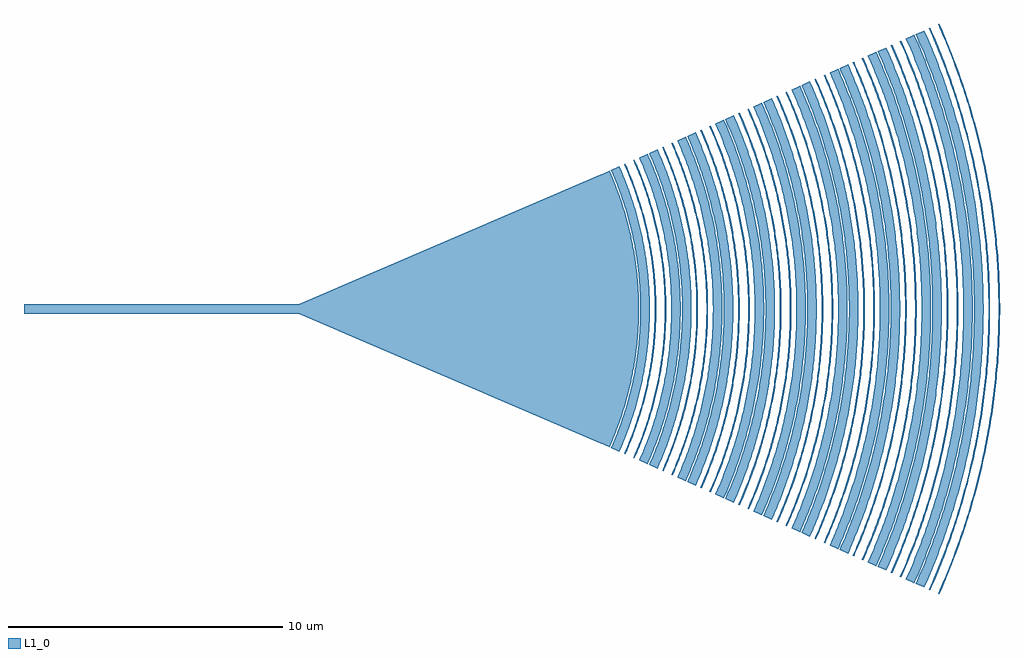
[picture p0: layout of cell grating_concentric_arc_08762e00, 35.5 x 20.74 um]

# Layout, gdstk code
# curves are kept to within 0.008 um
import gdstk
lib = gdstk.Library(unit=1e-6, precision=2e-09)
def R(c, l, rs):  # rectangles x0, y0, x1, y1
    for r in rs: c.add(gdstk.rectangle(r[:2], r[2:], *l))
def P(c, l, *ps):  # polygons
    for p in ps: c.add(gdstk.Polygon(p, *l))
L1_0 = (1, 0)

straight_3aa2beef = lib.new_cell('straight_3aa2beef')
R(straight_3aa2beef, L1_0, [(0,-0.174,10,0.174)])

ring_5980e904_transform_ = lib.new_cell('ring_5980e904_transform_c6f3182c')
P(ring_5980e904_transform_, L1_0, [(10.05,-4.474),(10.27,-3.942),(10.462,-3.4),(10.626,-2.848),(10.76,-2.288),(10.844,-1.848),(10.926,-1.278),(10.974,-0.768),(11,-0.128),(10.982,0.64),(10.94,1.15),(10.844,1.848),(10.76,2.288),(10.626,2.848),(10.462,3.4),(10.27,3.942),(10.05,4.474),(11.298,5.03),(11.52,4.498),(11.646,4.162),(11.868,3.478),(12.082,2.642),(12.226,1.864),(12.292,1.364),(12.332,0.934),(12.366,0.144),(12.364,-0.288),(12.342,-0.79),(12.266,-1.578),(12.112,-2.5),(11.908,-3.34),(11.646,-4.162),(11.52,-4.498),(11.298,-5.03)])

ring_31c3b712_transform_ = lib.new_cell('ring_31c3b712_transform_579983bc')
P(ring_31c3b712_transform_, L1_0, [(11.35,-5.054),(11.572,-4.52),(11.794,-3.908),(11.982,-3.286),(12.106,-2.794),(12.248,-2.086),(12.332,-1.514),(12.394,-0.866),(12.414,-0.506),(12.422,0.216),(12.394,0.866),(12.332,1.514),(12.196,2.37),(12.072,2.936),(11.86,3.702),(11.65,4.316),(11.35,5.054),(11.658,5.19),(11.914,4.574),(12.16,3.872),(12.346,3.232),(12.528,2.436),(12.658,1.628),(12.726,0.964),(12.76,0.222),(12.754,-0.446),(12.7,-1.26),(12.592,-2.07),(12.528,-2.436),(12.418,-2.944),(12.226,-3.66),(12.018,-4.294),(11.86,-4.712),(11.658,-5.19)])

ring_8cd21f16_transform_ = lib.new_cell('ring_8cd21f16_transform_288ec5f4')
P(ring_8cd21f16_transform_, L1_0, [(11.826,-5.266),(12.086,-4.64),(12.312,-4),(12.524,-3.278),(12.678,-2.618),(12.798,-1.95),(12.89,-1.204),(12.932,-0.602),(12.946,-0.076),(12.932,0.602),(12.89,1.204),(12.82,1.802),(12.708,2.47),(12.596,2.986),(12.524,3.278),(12.402,3.712),(12.216,4.286),(12.086,4.64),(11.826,5.266),(11.874,5.286),(12.136,4.658),(12.266,4.304),(12.386,3.944),(12.516,3.51),(12.594,3.218),(12.746,2.554),(12.862,1.884),(12.936,1.284),(12.988,0.53),(12.998,-0.152),(12.972,-0.832),(12.92,-1.434),(12.862,-1.884),(12.802,-2.258),(12.666,-2.924),(12.474,-3.656),(12.266,-4.304),(12.136,-4.658),(11.906,-5.218),(11.874,-5.286)])

ring_874df38f_transform_ = lib.new_cell('ring_874df38f_transform_116213ad')
P(ring_874df38f_transform_, L1_0, [(12.158,-5.414),(12.426,-4.77),(12.682,-4.04),(12.876,-3.37),(13.018,-2.768),(13.146,-2.082),(13.22,-1.546),(13.282,-0.852),(13.302,-0.464),(13.31,0),(13.302,0.464),(13.252,1.238),(13.22,1.546),(13.158,2.006),(13.05,2.616),(12.914,3.22),(12.728,3.892),(12.61,4.26),(12.426,4.77),(12.158,5.414),(12.206,5.434),(12.39,5.006),(12.53,4.644),(12.756,3.982),(12.966,3.232),(13.102,2.626),(13.222,1.936),(13.312,1.164),(13.352,0.544),(13.362,-0.156),(13.352,-0.544),(13.33,-0.932),(13.272,-1.552),(13.222,-1.936),(13.16,-2.32),(13.02,-3.006),(12.866,-3.608),(12.756,-3.982),(12.53,-4.644),(12.39,-5.006),(12.206,-5.434)])

ring_c10c4332_transform_ = lib.new_cell('ring_c10c4332_transform_c0080ed3')
P(ring_c10c4332_transform_, L1_0, [(12.374,-5.51),(12.618,-4.928),(12.884,-4.186),(13.064,-3.582),(13.234,-2.894),(13.354,-2.274),(13.436,-1.73),(13.502,-1.102),(13.538,-0.472),(13.546,0.158),(13.502,1.102),(13.404,1.964),(13.298,2.584),(13.144,3.278),(12.908,4.11),(12.618,4.928),(12.374,5.51),(12.684,5.648),(12.962,4.976),(13.23,4.214),(13.432,3.516),(13.614,2.728),(13.738,2.012),(13.832,1.21),(13.876,0.484),(13.876,-0.484),(13.832,-1.21),(13.714,-2.172),(13.614,-2.728),(13.51,-3.202),(13.278,-4.06),(13.102,-4.596),(12.962,-4.976),(12.684,-5.648)])

ring_1c1a7db8_transform_ = lib.new_cell('ring_1c1a7db8_transform_9bde171e')
P(ring_1c1a7db8_transform_, L1_0, [(12.736,-5.67),(13.016,-4.996),(13.234,-4.386),(13.402,-3.842),(13.566,-3.216),(13.716,-2.5),(13.828,-1.78),(13.902,-1.054),(13.936,-0.406),(13.938,0.324),(13.902,1.054),(13.806,1.94),(13.67,2.74),(13.508,3.452),(13.284,4.23),(13.016,4.996),(12.736,5.67),(13.044,5.808),(13.24,5.35),(13.39,4.962),(13.606,4.334),(13.814,3.616),(13.984,2.888),(14.104,2.234),(14.218,1.328),(14.274,0.416),(14.274,-0.416),(14.218,-1.328),(14.104,-2.234),(13.914,-3.212),(13.68,-4.096),(13.39,-4.962),(13.24,-5.35),(13.044,-5.808)])

ring_828d36b0_transform_ = lib.new_cell('ring_828d36b0_transform_22de5002')
P(ring_828d36b0_transform_, L1_0, [(13.212,-5.882),(13.442,-5.34),(13.62,-4.868),(13.756,-4.47),(13.97,-3.744),(14.13,-3.09),(14.272,-2.346),(14.366,-1.68),(14.434,-0.924),(14.462,-0.168),(14.46,0.336),(14.448,0.672),(14.408,1.26),(14.334,1.93),(14.272,2.346),(14.198,2.76),(14.074,3.336),(13.88,4.068),(13.756,4.47),(13.562,5.026),(13.442,5.34),(13.212,5.882),(13.262,5.904),(13.428,5.516),(13.582,5.124),(13.832,4.406),(14.044,3.676),(14.216,2.936),(14.338,2.27),(14.398,1.852),(14.446,1.434),(14.492,0.844),(14.508,0.506),(14.516,-0.168),(14.492,-0.844),(14.428,-1.602),(14.338,-2.27),(14.266,-2.686),(14.182,-3.1),(14,-3.838),(13.882,-4.244),(13.726,-4.726),(13.46,-5.438),(13.262,-5.904)])

ring_3885c2f9_transform_ = lib.new_cell('ring_3885c2f9_transform_93539ac7')
P(ring_3885c2f9_transform_, L1_0, [(13.544,-6.03),(13.78,-5.474),(13.962,-4.99),(14.074,-4.664),(14.276,-4.004),(14.366,-3.67),(14.466,-3.252),(14.602,-2.574),(14.658,-2.234),(14.726,-1.722),(14.778,-1.206),(14.802,-0.862),(14.826,-0.172),(14.818,0.518),(14.802,0.862),(14.746,1.55),(14.658,2.234),(14.538,2.914),(14.366,3.67),(14.204,4.252),(14.074,4.664),(13.842,5.314),(13.682,5.714),(13.544,6.03),(13.594,6.052),(13.892,5.332),(14.152,4.598),(14.304,4.102),(14.438,3.6),(14.59,2.924),(14.71,2.242),(14.78,1.728),(14.816,1.384),(14.868,0.606),(14.88,-0.086),(14.868,-0.606),(14.85,-0.952),(14.78,-1.728),(14.71,-2.242),(14.654,-2.584),(14.518,-3.262),(14.438,-3.6),(14.304,-4.102),(14.07,-4.844),(13.86,-5.414),(13.594,-6.052)])

ring_8b9f594e_transform_ = lib.new_cell('ring_8b9f594e_transform_fba0364b')
P(ring_8b9f594e_transform_, L1_0, [(13.762,-6.126),(14,-5.562),(14.272,-4.822),(14.528,-3.984),(14.678,-3.388),(14.82,-2.702),(14.952,-1.836),(15.014,-1.226),(15.058,-0.438),(15.058,0.438),(15.014,1.226),(14.952,1.836),(14.804,2.788),(14.638,3.56),(14.528,3.984),(14.354,4.572),(14.064,5.398),(13.762,6.126),(14.07,6.264),(14.378,5.52),(14.676,4.674),(14.9,3.9),(15.102,3.026),(15.252,2.144),(15.318,1.61),(15.358,1.164),(15.398,0.358),(15.398,-0.358),(15.358,-1.164),(15.298,-1.788),(15.226,-2.32),(15.084,-3.114),(14.966,-3.638),(14.83,-4.16),(14.676,-4.674),(14.504,-5.184),(14.314,-5.686),(14.07,-6.264)])

ring_6a857adc_transform_ = lib.new_cell('ring_6a857adc_transform_85e51b25')
P(ring_6a857adc_transform_, L1_0, [(14.122,-6.288),(14.4,-5.624),(14.646,-4.948),(14.86,-4.26),(15.042,-3.566),(15.192,-2.862),(15.308,-2.152),(15.408,-1.258),(15.45,-0.54),(15.45,0.54),(15.408,1.258),(15.296,2.24),(15.158,3.038),(14.978,3.826),(14.73,4.692),(14.496,5.372),(14.3,5.874),(14.122,6.288),(14.43,6.426),(14.78,5.576),(15.08,4.706),(15.328,3.822),(15.524,2.924),(15.656,2.108),(15.752,1.194),(15.79,0.46),(15.79,-0.46),(15.77,-0.918),(15.72,-1.56),(15.656,-2.108),(15.588,-2.562),(15.392,-3.554),(15.16,-4.442),(15.024,-4.882),(14.812,-5.49),(14.612,-6.002),(14.43,-6.426)])

ring_92e91ee7_transform_ = lib.new_cell('ring_92e91ee7_transform_32ab5ad6')
P(ring_92e91ee7_transform_, L1_0, [(14.598,-6.5),(14.886,-5.814),(15.17,-5.026),(15.31,-4.584),(15.412,-4.226),(15.612,-3.414),(15.754,-2.684),(15.862,-1.948),(15.912,-1.486),(15.942,-1.114),(15.968,-0.65),(15.98,-0.186),(15.98,0.186),(15.968,0.65),(15.912,1.486),(15.862,1.948),(15.812,2.316),(15.722,2.866),(15.65,3.232),(15.506,3.866),(15.31,4.584),(15.17,5.026),(14.952,5.64),(14.782,6.072),(14.598,6.5),(14.648,6.522),(14.796,6.178),(15.002,5.658),(15.13,5.308),(15.278,4.866),(15.512,4.06),(15.684,3.334),(15.822,2.6),(15.878,2.232),(15.956,1.584),(16.012,0.84),(16.03,0.374),(16.034,-0.094),(16.012,-0.84),(15.988,-1.212),(15.926,-1.862),(15.822,-2.6),(15.774,-2.876),(15.644,-3.516),(15.512,-4.06),(15.438,-4.33),(15.278,-4.866),(15.13,-5.308),(14.866,-6.006),(14.648,-6.522)])

ring_b28e7591_transform_ = lib.new_cell('ring_b28e7591_transform_f28692c8')
P(ring_b28e7591_transform_, L1_0, [(14.932,-6.648),(15.19,-6.034),(15.454,-5.322),(15.658,-4.688),(15.788,-4.23),(15.926,-3.676),(16.08,-2.932),(16.158,-2.462),(16.234,-1.898),(16.298,-1.234),(16.322,-0.856),(16.344,-0.19),(16.338,0.476),(16.322,0.856),(16.274,1.52),(16.186,2.274),(16.08,2.932),(16.026,3.212),(15.882,3.862),(15.788,4.23),(15.658,4.688),(15.454,5.322),(15.326,5.68),(15.19,6.034),(14.932,6.648),(14.98,6.67),(15.168,6.23),(15.342,5.788),(15.504,5.338),(15.624,4.976),(15.736,4.612),(15.886,4.06),(15.956,3.782),(16.078,3.222),(16.196,2.566),(16.264,2.092),(16.318,1.62),(16.358,1.144),(16.38,0.762),(16.398,0),(16.388,-0.572),(16.37,-0.954),(16.298,-1.808),(16.196,-2.566),(16.114,-3.036),(15.998,-3.596),(15.886,-4.06),(15.736,-4.612),(15.504,-5.338),(15.274,-5.966),(14.98,-6.67)])

ring_3f1a5748_transform_ = lib.new_cell('ring_3f1a5748_transform_90aa7776')
P(ring_3f1a5748_transform_, L1_0, [(15.148,-6.744),(15.48,-5.942),(15.74,-5.216),(15.966,-4.478),(16.178,-3.636),(16.33,-2.88),(16.446,-2.116),(16.534,-1.252),(16.574,-0.482),(16.582,0),(16.568,0.676),(16.51,1.542),(16.406,2.404),(16.258,3.258),(16.178,3.636),(16.016,4.292),(15.8,5.032),(15.48,5.942),(15.148,6.744),(15.456,6.882),(15.796,6.064),(16.122,5.134),(16.368,4.284),(16.59,3.324),(16.726,2.55),(16.846,1.572),(16.896,0.886),(16.912,0.492),(16.912,-0.492),(16.896,-0.886),(16.846,-1.572),(16.768,-2.258),(16.696,-2.744),(16.508,-3.71),(16.264,-4.664),(16.122,-5.134),(15.932,-5.694),(15.688,-6.338),(15.456,-6.882)])

ring_ff41c443_transform_ = lib.new_cell('ring_ff41c443_transform_259f8c97')
P(ring_ff41c443_transform_, L1_0, [(15.508,-6.904),(15.74,-6.36),(16.084,-5.434),(16.346,-4.584),(16.542,-3.818),(16.736,-2.85),(16.838,-2.166),(16.928,-1.282),(16.972,-0.396),(16.966,0.592),(16.912,1.48),(16.862,1.97),(16.768,2.656),(16.646,3.336),(16.448,4.202),(16.206,5.058),(15.884,5.992),(15.508,6.904),(15.818,7.042),(16.016,6.58),(16.236,6.016),(16.498,5.254),(16.776,4.286),(16.996,3.304),(17.132,2.51),(17.24,1.61),(17.304,0.604),(17.31,-0.402),(17.296,-0.806),(17.24,-1.61),(17.132,-2.51),(17.052,-3.006),(16.936,-3.6),(16.698,-4.578),(16.498,-5.254),(16.304,-5.828),(16.054,-6.486),(15.818,-7.042)])

ring_9ce07b13_transform_ = lib.new_cell('ring_9ce07b13_transform_75342d38')
P(ring_9ce07b13_transform_, L1_0, [(15.986,-7.118),(16.186,-6.65),(16.336,-6.27),(16.478,-5.888),(16.642,-5.408),(16.876,-4.628),(16.978,-4.234),(17.116,-3.638),(17.25,-2.938),(17.314,-2.536),(17.392,-1.93),(17.432,-1.526),(17.474,-0.916),(17.498,-0.102),(17.494,0.408),(17.474,0.916),(17.432,1.526),(17.392,1.93),(17.314,2.536),(17.25,2.938),(17.116,3.638),(16.954,4.332),(16.876,4.628),(16.704,5.214),(16.512,5.792),(16.372,6.176),(16.186,6.65),(15.986,7.118),(16.034,7.138),(16.196,6.764),(16.386,6.29),(16.562,5.81),(16.724,5.326),(16.872,4.838),(16.98,4.444),(17.168,3.65),(17.302,2.948),(17.366,2.544),(17.466,1.734),(17.522,1.02),(17.544,0.51),(17.552,0),(17.544,-0.51),(17.522,-1.02),(17.466,-1.734),(17.366,-2.544),(17.302,-2.948),(17.168,-3.65),(17.03,-4.246),(16.926,-4.642),(16.814,-5.034),(16.628,-5.618),(16.386,-6.29),(16.116,-6.952),(16.034,-7.138)])

ring_57aed3ef_transform_ = lib.new_cell('ring_57aed3ef_transform_21964beb')
P(ring_57aed3ef_transform_, L1_0, [(16.318,-7.264),(16.522,-6.788),(16.676,-6.402),(16.82,-6.012),(16.988,-5.52),(17.226,-4.724),(17.332,-4.322),(17.472,-3.714),(17.626,-2.896),(17.716,-2.28),(17.764,-1.868),(17.838,-0.934),(17.862,-0.104),(17.854,0.52),(17.838,0.934),(17.764,1.868),(17.674,2.588),(17.608,3),(17.514,3.51),(17.332,4.322),(17.226,4.724),(17.082,5.222),(16.888,5.816),(16.676,6.402),(16.522,6.788),(16.318,7.264),(16.366,7.286),(16.532,6.904),(16.688,6.518),(16.87,6.03),(17.038,5.536),(17.278,4.738),(17.408,4.232),(17.524,3.724),(17.678,2.906),(17.782,2.184),(17.828,1.768),(17.872,1.25),(17.896,0.834),(17.914,0.208),(17.914,-0.208),(17.896,-0.834),(17.872,-1.25),(17.838,-1.666),(17.782,-2.184),(17.678,-2.906),(17.606,-3.316),(17.456,-4.03),(17.358,-4.436),(17.192,-5.038),(17.038,-5.536),(16.87,-6.03),(16.688,-6.518),(16.532,-6.904),(16.366,-7.286)])

ring_51216bf5_transform_ = lib.new_cell('ring_51216bf5_transform_d21687a5')
P(ring_51216bf5_transform_, L1_0, [(16.534,-7.362),(16.934,-6.388),(17.18,-5.692),(17.426,-4.888),(17.658,-3.968),(17.842,-3.04),(17.964,-2.206),(18.062,-1.158),(18.094,-0.422),(18.088,0.632),(18.03,1.578),(17.908,2.624),(17.746,3.556),(17.536,4.48),(17.308,5.292),(17.078,5.992),(16.934,6.388),(16.534,7.362),(16.842,7.498),(17.174,6.708),(17.362,6.204),(17.568,5.596),(17.836,4.668),(18.078,3.624),(18.258,2.566),(18.376,1.5),(18.426,0.644),(18.432,-0.428),(18.376,-1.5),(18.258,-2.566),(18.078,-3.624),(17.94,-4.252),(17.78,-4.876),(17.568,-5.596),(17.362,-6.204),(17.174,-6.708),(16.842,-7.498)])

ring_f3ee0912_transform_ = lib.new_cell('ring_f3ee0912_transform_e541d9a4')
P(ring_f3ee0912_transform_, L1_0, [(16.894,-7.522),(17.266,-6.628),(17.554,-5.818),(17.836,-4.89),(18.044,-4.056),(18.232,-3.106),(18.356,-2.254),(18.424,-1.612),(18.486,-0.538),(18.486,0.538),(18.424,1.612),(18.314,2.574),(18.232,3.106),(18.134,3.634),(17.892,4.682),(17.622,5.612),(17.266,6.628),(16.894,7.522),(17.204,7.66),(17.378,7.258),(17.62,6.646),(17.944,5.714),(18.246,4.662),(18.374,4.13),(18.486,3.594),(18.664,2.512),(18.77,1.532),(18.824,0.548),(18.824,-0.548),(18.794,-1.204),(18.74,-1.86),(18.678,-2.404),(18.6,-2.946),(18.486,-3.594),(18.374,-4.13),(18.162,-4.98),(17.944,-5.714),(17.734,-6.338),(17.502,-6.952),(17.204,-7.66)])

ring_0a456188_transform_ = lib.new_cell('ring_0a456188_transform_9ed6a0ba')
P(ring_0a456188_transform_, L1_0, [(17.372,-7.734),(17.59,-7.226),(17.792,-6.712),(18.05,-5.982),(18.248,-5.348),(18.368,-4.922),(18.478,-4.492),(18.6,-3.954),(18.708,-3.41),(18.782,-2.974),(18.846,-2.536),(18.912,-1.988),(18.984,-1.106),(19.008,-0.554),(19.016,-0.11),(19,0.774),(18.97,1.326),(18.934,1.768),(18.874,2.318),(18.782,2.974),(18.708,3.41),(18.622,3.846),(18.424,4.708),(18.248,5.348),(18.152,5.666),(17.944,6.296),(17.792,6.712),(17.59,7.226),(17.372,7.734),(17.42,7.756),(17.68,7.144),(17.842,6.73),(18.136,5.892),(18.268,5.468),(18.448,4.828),(18.652,3.964),(18.76,3.42),(18.868,2.764),(18.976,1.882),(19.006,1.552),(19.048,0.888),(19.064,0.444),(19.068,-0.222),(19.048,-0.888),(19.03,-1.22),(19.006,-1.552),(18.94,-2.214),(18.868,-2.764),(18.798,-3.202),(18.74,-3.53),(18.58,-4.29),(18.448,-4.828),(18.33,-5.256),(18.17,-5.786),(17.994,-6.312),(17.722,-7.04),(17.51,-7.552),(17.42,-7.756)])

ring_1e318d4c_transform_ = lib.new_cell('ring_1e318d4c_transform_3c680a2d')
P(ring_1e318d4c_transform_, L1_0, [(17.704,-7.882),(18.052,-7.05),(18.324,-6.31),(18.466,-5.882),(18.598,-5.45),(18.748,-4.906),(18.956,-4.03),(19.024,-3.698),(19.158,-2.92),(19.248,-2.25),(19.296,-1.802),(19.34,-1.24),(19.364,-0.788),(19.38,0),(19.364,0.788),(19.34,1.24),(19.296,1.802),(19.248,2.25),(19.158,2.92),(19.002,3.808),(18.908,4.25),(18.776,4.798),(18.66,5.234),(18.5,5.774),(18.324,6.31),(18.132,6.84),(17.926,7.364),(17.704,7.882),(17.752,7.904),(17.932,7.488),(18.142,6.964),(18.336,6.434),(18.482,6.004),(18.68,5.356),(18.8,4.92),(19.008,4.04),(19.118,3.486),(19.228,2.816),(19.338,1.918),(19.368,1.58),(19.412,0.904),(19.43,0.34),(19.432,-0.114),(19.424,-0.566),(19.4,-1.13),(19.368,-1.58),(19.314,-2.144),(19.244,-2.704),(19.156,-3.262),(19.076,-3.708),(18.96,-4.262),(18.8,-4.92),(18.68,-5.356),(18.516,-5.898),(18.374,-6.326),(18.142,-6.964),(17.888,-7.592),(17.752,-7.904)])

ring_53eda29f_transform_ = lib.new_cell('ring_53eda29f_transform_7ae99674')
P(ring_53eda29f_transform_, L1_0, [(17.92,-7.978),(18.314,-7.03),(18.656,-6.062),(18.948,-5.078),(19.164,-4.19),(19.338,-3.294),(19.484,-2.278),(19.576,-1.254),(19.614,-0.342),(19.614,0.342),(19.6,0.798),(19.532,1.824),(19.426,2.73),(19.338,3.294),(19.234,3.854),(19.006,4.856),(18.726,5.844),(18.548,6.386),(18.314,7.03),(17.92,7.978),(18.228,8.116),(18.458,7.582),(18.67,7.042),(18.978,6.166),(19.182,5.5),(19.362,4.828),(19.588,3.808),(19.69,3.236),(19.776,2.662),(19.888,1.624),(19.946,0.58),(19.946,-0.58),(19.914,-1.276),(19.878,-1.74),(19.82,-2.316),(19.744,-2.892),(19.542,-4.036),(19.39,-4.714),(19.244,-5.276),(19.048,-5.944),(18.79,-6.716),(18.502,-7.474),(18.228,-8.116)])

ring_22dcee67_transform_ = lib.new_cell('ring_22dcee67_transform_6674ada7')
P(ring_22dcee67_transform_, L1_0, [(18.282,-8.14),(18.682,-7.172),(18.996,-6.294),(19.33,-5.18),(19.55,-4.274),(19.708,-3.474),(19.8,-2.9),(19.876,-2.324),(19.954,-1.512),(20.006,-0.466),(20.006,0.466),(19.954,1.512),(19.876,2.324),(19.746,3.246),(19.55,4.274),(19.36,5.066),(19.204,5.628),(18.996,6.294),(18.764,6.954),(18.598,7.388),(18.282,8.14),(18.59,8.276),(18.778,7.842),(19.04,7.182),(19.39,6.176),(19.594,5.496),(19.716,5.038),(19.828,4.578),(19.976,3.882),(20.152,2.832),(20.238,2.128),(20.282,1.656),(20.322,1.064),(20.344,0.474),(20.344,-0.474),(20.322,-1.064),(20.282,-1.656),(20.238,-2.128),(20.152,-2.832),(19.976,-3.882),(19.828,-4.578),(19.656,-5.266),(19.46,-5.95),(19.202,-6.736),(18.912,-7.514),(18.59,-8.276)])

ring_87db352c_transform_ = lib.new_cell('ring_87db352c_transform_d8670275')
P(ring_87db352c_transform_, L1_0, [(18.758,-8.352),(18.948,-7.912),(19.17,-7.358),(19.376,-6.798),(19.528,-6.346),(19.636,-6.004),(19.834,-5.314),(19.924,-4.968),(20.06,-4.386),(20.156,-3.918),(20.262,-3.33),(20.334,-2.858),(20.408,-2.266),(20.474,-1.552),(20.498,-1.194),(20.532,-0.238),(20.532,0.238),(20.516,0.836),(20.49,1.314),(20.444,1.908),(20.408,2.266),(20.334,2.858),(20.262,3.33),(20.156,3.918),(20.06,4.386),(19.924,4.968),(19.802,5.43),(19.636,6.004),(19.376,6.798),(19.254,7.134),(19.038,7.692),(18.758,8.352),(18.806,8.374),(18.95,8.044),(19.176,7.49),(19.386,6.928),(19.542,6.476),(19.722,5.904),(19.854,5.444),(20.004,4.864),(20.136,4.28),(20.208,3.928),(20.314,3.338),(20.386,2.866),(20.474,2.152),(20.528,1.556),(20.564,0.958),(20.578,0.598),(20.586,-0.12),(20.578,-0.598),(20.552,-1.196),(20.528,-1.556),(20.474,-2.152),(20.386,-2.866),(20.314,-3.338),(20.208,-3.928),(20.086,-4.514),(19.946,-5.096),(19.822,-5.56),(19.652,-6.134),(19.426,-6.816),(19.176,-7.49),(18.95,-8.044),(18.806,-8.374)])

ring_80e87c48_transform_ = lib.new_cell('ring_80e87c48_transform_c6a80cb5')
P(ring_80e87c48_transform_, L1_0, [(19.09,-8.5),(19.33,-7.94),(19.552,-7.376),(19.874,-6.458),(20.088,-5.76),(20.216,-5.29),(20.414,-4.464),(20.536,-3.868),(20.64,-3.268),(20.694,-2.908),(20.77,-2.306),(20.818,-1.822),(20.862,-1.216),(20.896,-0.244),(20.896,0.244),(20.88,0.85),(20.862,1.216),(20.818,1.822),(20.77,2.306),(20.694,2.908),(20.58,3.628),(20.49,4.106),(20.362,4.7),(20.276,5.056),(20.088,5.76),(19.984,6.11),(19.798,6.688),(19.552,7.376),(19.33,7.94),(19.09,8.5),(19.138,8.522),(19.332,8.074),(19.602,7.394),(19.848,6.706),(19.962,6.358),(20.172,5.658),(20.268,5.304),(20.492,4.356),(20.588,3.878),(20.692,3.278),(20.794,2.554),(20.848,2.068),(20.89,1.582),(20.928,0.974),(20.944,0.488),(20.95,-0.122),(20.936,-0.732),(20.914,-1.218),(20.86,-1.948),(20.822,-2.312),(20.746,-2.916),(20.632,-3.638),(20.542,-4.116),(20.44,-4.594),(20.328,-5.068),(20.172,-5.658),(20.034,-6.126),(19.848,-6.706),(19.602,-7.394),(19.332,-8.074),(19.138,-8.522)])

ring_0d970298_transform_ = lib.new_cell('ring_0d970298_transform_0dfc6711')
P(ring_0d970298_transform_, L1_0, [(19.306,-8.596),(19.73,-7.574),(20.1,-6.53),(20.382,-5.588),(20.62,-4.634),(20.834,-3.548),(20.976,-2.576),(21.074,-1.596),(21.128,-0.492),(21.128,0.492),(21.074,1.596),(20.976,2.576),(20.874,3.306),(20.746,4.032),(20.62,4.634),(20.414,5.47),(20.246,6.062),(20.1,6.53),(19.86,7.228),(19.502,8.144),(19.306,8.596),(19.616,8.734),(19.814,8.274),(20.09,7.578),(20.302,6.99),(20.534,6.278),(20.804,5.316),(20.922,4.83),(21.078,4.096),(21.188,3.482),(21.28,2.864),(21.39,1.872),(21.436,1.248),(21.458,0.75),(21.472,0.124),(21.466,-0.5),(21.436,-1.248),(21.39,-1.872),(21.312,-2.616),(21.226,-3.236),(21.124,-3.852),(21.028,-4.342),(20.864,-5.074),(20.708,-5.678),(20.496,-6.398),(20.176,-7.344),(19.908,-8.044),(19.616,-8.734)])

ring_1c7b9ba6_transform_ = lib.new_cell('ring_1c7b9ba6_transform_3d196e96')
P(ring_1c7b9ba6_transform_, L1_0, [(19.668,-8.756),(20.054,-7.832),(20.436,-6.772),(20.588,-6.294),(20.796,-5.572),(21.032,-4.598),(21.244,-3.492),(21.384,-2.5),(21.468,-1.626),(21.506,-1.002),(21.526,-0.376),(21.52,0.626),(21.468,1.626),(21.384,2.5),(21.244,3.492),(21.032,4.598),(20.89,5.208),(20.66,6.054),(20.436,6.772),(20.188,7.48),(19.914,8.18),(19.668,8.756),(19.976,8.894),(20.226,8.31),(20.46,7.718),(20.836,6.636),(21.02,6.028),(21.186,5.414),(21.44,4.298),(21.636,3.17),(21.734,2.412),(21.784,1.906),(21.854,0.764),(21.864,-0.382),(21.814,-1.526),(21.76,-2.16),(21.672,-2.918),(21.578,-3.546),(21.44,-4.298),(21.278,-5.042),(21.122,-5.66),(20.912,-6.394),(20.592,-7.36),(20.322,-8.074),(19.976,-8.894)])

ring_21bbc2b6_transform_ = lib.new_cell('ring_21bbc2b6_transform_cb1393bb')
P(ring_21bbc2b6_transform_, L1_0, [(20.144,-8.968),(20.348,-8.498),(20.54,-8.022),(20.764,-7.422),(20.932,-6.936),(21.124,-6.324),(21.3,-5.708),(21.542,-4.71),(21.646,-4.208),(21.738,-3.702),(21.818,-3.196),(21.902,-2.56),(21.978,-1.794),(22.014,-1.282),(22.042,-0.642),(22.05,-0.128),(22.042,0.642),(22.014,1.282),(21.978,1.794),(21.93,2.304),(21.854,2.942),(21.738,3.702),(21.646,4.208),(21.542,4.71),(21.396,5.334),(21.232,5.954),(21.05,6.57),(20.85,7.178),(20.632,7.782),(20.348,8.498),(20.144,8.968),(20.192,8.99),(20.446,8.4),(20.636,7.922),(20.858,7.318),(20.982,6.952),(21.248,6.092),(21.416,5.472),(21.594,4.722),(21.722,4.092),(21.832,3.458),(21.906,2.948),(21.996,2.182),(22.05,1.542),(22.086,0.9),(22.104,-0.128),(22.074,-1.156),(22.02,-1.926),(21.954,-2.566),(21.852,-3.33),(21.79,-3.712),(21.698,-4.218),(21.594,-4.722),(21.416,-5.472),(21.248,-6.092),(21.062,-6.708),(20.9,-7.196),(20.636,-7.922),(20.296,-8.754),(20.192,-8.99)])

ring_ab03ac01_transform_ = lib.new_cell('ring_ab03ac01_transform_5dc6e2a4')
P(ring_ab03ac01_transform_, L1_0, [(20.476,-9.116),(20.732,-8.518),(20.926,-8.032),(21.15,-7.42),(21.358,-6.802),(21.51,-6.304),(21.684,-5.676),(21.84,-5.042),(21.952,-4.532),(22.118,-3.636),(22.214,-2.99),(22.292,-2.342),(22.34,-1.824),(22.384,-1.174),(22.414,-0.13),(22.396,0.912),(22.36,1.564),(22.318,2.084),(22.248,2.732),(22.178,3.248),(22.074,3.892),(21.952,4.532),(21.84,5.042),(21.684,5.676),(21.51,6.304),(21.358,6.802),(21.15,7.42),(20.926,8.032),(20.732,8.518),(20.476,9.116),(20.524,9.138),(20.782,8.538),(21.022,7.93),(21.244,7.314),(21.408,6.818),(21.524,6.444),(21.736,5.688),(21.892,5.054),(22.004,4.544),(22.126,3.902),(22.23,3.256),(22.284,2.868),(22.358,2.218),(22.43,1.306),(22.462,0.522),(22.468,0),(22.462,-0.522),(22.43,-1.306),(22.358,-2.218),(22.284,-2.868),(22.23,-3.256),(22.126,-3.902),(22.004,-4.544),(21.832,-5.308),(21.668,-5.942),(21.524,-6.444),(21.286,-7.19),(21.022,-7.93),(20.682,-8.778),(20.524,-9.138)])

ring_3170ac5d_transform_ = lib.new_cell('ring_3170ac5d_transform_2e00db3b')
P(ring_3170ac5d_transform_, L1_0, [(20.692,-9.214),(20.902,-8.73),(21.146,-8.118),(21.502,-7.124),(21.81,-6.116),(22.1,-4.966),(22.21,-4.452),(22.33,-3.804),(22.498,-2.63),(22.596,-1.58),(22.648,-0.396),(22.642,0.658),(22.596,1.58),(22.498,2.63),(22.352,3.674),(22.21,4.452),(22.07,5.096),(21.88,5.862),(21.7,6.496),(21.502,7.124),(21.286,7.748),(21.002,8.486),(20.692,9.214),(21.002,9.35),(21.316,8.612),(21.51,8.114),(21.78,7.358),(21.946,6.85),(22.274,5.692),(22.514,4.648),(22.64,3.992),(22.766,3.2),(22.89,2.136),(22.934,1.604),(22.976,0.802),(22.986,-0.402),(22.958,-1.204),(22.924,-1.738),(22.864,-2.404),(22.766,-3.2),(22.592,-4.256),(22.43,-5.04),(22.274,-5.692),(22.062,-6.466),(21.78,-7.358),(21.414,-8.364),(21.002,-9.35)])

ring_6e273fe0_transform_ = lib.new_cell('ring_6e273fe0_transform_936c9378')
P(ring_6e273fe0_transform_, L1_0, [(21.054,-9.374),(21.318,-8.758),(21.564,-8.134),(21.876,-7.25),(22.19,-6.224),(22.486,-5.054),(22.696,-4.002),(22.858,-2.942),(22.97,-1.876),(23.008,-1.34),(23.04,-0.536),(23.04,0.536),(22.99,1.608),(22.906,2.542),(22.742,3.738),(22.622,4.398),(22.456,5.184),(22.296,5.836),(22.04,6.738),(21.834,7.376),(21.564,8.134),(21.318,8.758),(21.054,9.374),(21.362,9.512),(21.682,8.76),(21.88,8.252),(22.066,7.742),(22.282,7.096),(22.516,6.314),(22.656,5.79),(22.928,4.596),(23.138,3.39),(23.242,2.58),(23.296,2.038),(23.37,0.816),(23.384,0.136),(23.378,-0.544),(23.352,-1.224),(23.296,-2.038),(23.242,-2.58),(23.138,-3.39),(22.98,-4.328),(22.874,-4.862),(22.588,-6.052),(22.282,-7.096),(22.066,-7.742),(21.682,-8.76),(21.362,-9.512)])

ring_b7cfe6b0_transform_ = lib.new_cell('ring_b7cfe6b0_transform_39d8f39c')
P(ring_b7cfe6b0_transform_, L1_0, [(21.53,-9.586),(21.748,-9.082),(21.954,-8.574),(22.194,-7.932),(22.372,-7.414),(22.578,-6.76),(22.8,-5.968),(22.964,-5.302),(23.082,-4.766),(23.186,-4.228),(23.278,-3.686),(23.358,-3.144),(23.424,-2.6),(23.49,-1.918),(23.52,-1.508),(23.554,-0.822),(23.568,-0.138),(23.562,0.548),(23.536,1.234),(23.466,2.19),(23.376,3.008),(23.32,3.416),(23.234,3.958),(23.082,4.766),(22.964,5.302),(22.8,5.968),(22.498,7.022),(22.284,7.672),(22.052,8.318),(21.8,8.956),(21.53,9.586),(21.578,9.608),(21.85,8.976),(22.052,8.466),(22.244,7.95),(22.508,7.168),(22.668,6.642),(22.852,5.98),(23.016,5.314),(23.134,4.776),(23.238,4.238),(23.352,3.56),(23.428,3.016),(23.492,2.47),(23.532,2.058),(23.582,1.374),(23.612,0.688),(23.622,0),(23.612,-0.688),(23.582,-1.374),(23.532,-2.058),(23.492,-2.47),(23.428,-3.016),(23.352,-3.56),(23.188,-4.508),(23.076,-5.046),(22.92,-5.714),(22.744,-6.378),(22.508,-7.168),(22.334,-7.69),(22.052,-8.466),(21.744,-9.23),(21.578,-9.608)])

ring_9169cfe8_transform_ = lib.new_cell('ring_9169cfe8_transform_1d82e647')
P(ring_9169cfe8_transform_, L1_0, [(21.862,-9.734),(22.084,-9.222),(22.392,-8.446),(22.628,-7.792),(22.76,-7.396),(22.926,-6.864),(23.08,-6.328),(23.254,-5.654),(23.38,-5.112),(23.492,-4.566),(23.592,-4.018),(23.718,-3.192),(23.786,-2.64),(23.864,-1.808),(23.892,-1.392),(23.918,-0.836),(23.932,-0.14),(23.926,0.556),(23.906,1.114),(23.874,1.67),(23.828,2.224),(23.754,2.916),(23.658,3.606),(23.544,4.292),(23.438,4.84),(23.35,5.248),(23.152,6.06),(22.886,6.996),(22.628,7.792),(22.392,8.446),(22.084,9.222),(21.862,9.734),(21.912,9.756),(22.186,9.114),(22.392,8.596),(22.586,8.072),(22.854,7.278),(23.056,6.612),(23.204,6.072),(23.37,5.396),(23.49,4.85),(23.596,4.302),(23.69,3.752),(23.788,3.062),(23.868,2.368),(23.906,1.952),(23.952,1.256),(23.982,0.418),(23.984,-0.28),(23.97,-0.838),(23.936,-1.534),(23.854,-2.508),(23.752,-3.338),(23.668,-3.89),(23.518,-4.714),(23.432,-5.124),(23.306,-5.666),(23.094,-6.476),(22.896,-7.146),(22.724,-7.676),(22.392,-8.596),(22.078,-9.372),(21.912,-9.756)])

ring_ac7aef09_transform_ = lib.new_cell('ring_ac7aef09_transform_3f0a5ef7')
P(ring_ac7aef09_transform_, L1_0, [(22.08,-9.83),(22.564,-8.662),(22.898,-7.736),(23.232,-6.662),(23.382,-6.12),(23.55,-5.436),(23.698,-4.75),(23.826,-4.058),(23.934,-3.364),(24.006,-2.806),(24.12,-1.546),(24.162,-0.562),(24.162,0.562),(24.136,1.264),(24.1,1.826),(24.006,2.806),(23.934,3.364),(23.826,4.058),(23.67,4.888),(23.518,5.574),(23.346,6.256),(23.154,6.932),(22.898,7.736),(22.712,8.266),(22.356,9.184),(22.08,9.83),(22.388,9.968),(22.828,8.916),(23.124,8.114),(23.308,7.572),(23.518,6.892),(23.672,6.342),(23.846,5.652),(24,4.956),(24.11,4.396),(24.248,3.552),(24.324,2.986),(24.414,2.136),(24.466,1.424),(24.492,0.856),(24.506,0.142),(24.5,-0.57),(24.466,-1.424),(24.426,-1.994),(24.34,-2.846),(24.248,-3.552),(24.11,-4.396),(24,-4.956),(23.846,-5.652),(23.672,-6.342),(23.394,-7.302),(23.124,-8.114),(22.776,-9.048),(22.388,-9.968)])

ring_f583906b_transform_ = lib.new_cell('ring_f583906b_transform_4c8442eb')
P(ring_f583906b_transform_, L1_0, [(22.44,-9.99),(22.828,-9.07),(23.272,-7.862),(23.652,-6.634),(23.966,-5.386),(24.19,-4.266),(24.284,-3.702),(24.398,-2.852),(24.458,-2.284),(24.514,-1.57),(24.56,-0.428),(24.554,0.714),(24.494,1.856),(24.43,2.568),(24.344,3.278),(24.166,4.406),(23.966,5.386),(23.834,5.942),(23.652,6.634),(23.406,7.454),(23.226,7.998),(22.932,8.802),(22.722,9.334),(22.44,9.99),(22.748,10.128),(23.034,9.462),(23.3,8.788),(23.498,8.244),(23.728,7.558),(24.054,6.446),(24.264,5.602),(24.388,5.036),(24.524,4.324),(24.618,3.752),(24.734,2.89),(24.794,2.314),(24.86,1.448),(24.892,0.724),(24.898,-0.434),(24.868,-1.304),(24.82,-2.026),(24.766,-2.602),(24.66,-3.466),(24.524,-4.324),(24.388,-5.036),(24.264,-5.602),(24.054,-6.446),(23.814,-7.28),(23.498,-8.244),(23.196,-9.06),(22.748,-10.128)])

ring_aeb52af5_transform_ = lib.new_cell('ring_aeb52af5_transform_6885f0e5')
P(ring_aeb52af5_transform_, L1_0, [(22.916,-10.204),(23.148,-9.668),(23.42,-8.99),(23.622,-8.442),(23.858,-7.752),(24.074,-7.054),(24.268,-6.352),(24.41,-5.786),(24.538,-5.216),(24.652,-4.644),(24.754,-4.068),(24.862,-3.346),(24.948,-2.622),(25.014,-1.896),(25.052,-1.312),(25.082,-0.438),(25.086,0),(25.082,0.438),(25.052,1.312),(25.014,1.896),(24.948,2.622),(24.862,3.346),(24.754,4.068),(24.568,5.072),(24.41,5.786),(24.268,6.352),(23.99,7.334),(23.766,8.028),(23.472,8.854),(23.148,9.668),(22.916,10.204),(22.966,10.224),(23.196,9.688),(23.416,9.146),(23.672,8.46),(23.908,7.768),(24.124,7.07),(24.32,6.364),(24.494,5.654),(24.62,5.084),(24.782,4.222),(24.874,3.644),(24.952,3.064),(25.016,2.482),(25.078,1.754),(25.112,1.17),(25.132,0.584),(25.138,-0.146),(25.124,-0.878),(25.088,-1.608),(25.056,-2.046),(24.986,-2.774),(24.914,-3.354),(24.83,-3.932),(24.704,-4.654),(24.59,-5.226),(24.392,-6.082),(24.244,-6.648),(24.04,-7.35),(23.816,-8.046),(23.572,-8.736),(23.416,-9.146),(23.196,-9.688),(22.966,-10.224)])

ring_6648dc2c_transform_ = lib.new_cell('ring_6648dc2c_transform_4cc973e3')
P(ring_6648dc2c_transform_, L1_0, [(23.248,-10.352),(23.484,-9.808),(23.706,-9.258),(24.014,-8.426),(24.204,-7.864),(24.464,-7.014),(24.62,-6.444),(24.764,-5.868),(24.924,-5.146),(25.01,-4.71),(25.136,-3.982),(25.222,-3.396),(25.31,-2.66),(25.388,-1.776),(25.422,-1.184),(25.446,-0.444),(25.45,0),(25.446,0.444),(25.422,1.184),(25.388,1.776),(25.31,2.66),(25.222,3.396),(25.136,3.982),(25.01,4.71),(24.924,5.146),(24.764,5.868),(24.62,6.444),(24.464,7.014),(24.294,7.582),(24.014,8.426),(23.812,8.982),(23.484,9.808),(23.248,10.352),(23.298,10.372),(23.646,9.554),(23.862,9),(24.064,8.442),(24.3,7.74),(24.514,7.03),(24.672,6.458),(24.882,5.592),(24.976,5.156),(25.062,4.72),(25.212,3.842),(25.294,3.256),(25.378,2.518),(25.43,1.926),(25.482,1.038),(25.496,0.594),(25.502,-0.148),(25.492,-0.742),(25.46,-1.482),(25.406,-2.222),(25.33,-2.96),(25.254,-3.55),(25.14,-4.282),(25.034,-4.866),(24.914,-5.448),(24.78,-6.026),(24.634,-6.6),(24.388,-7.456),(24.208,-8.022),(23.914,-8.862),(23.59,-9.69),(23.298,-10.372)])

grating_concentric_arc_0 = lib.new_cell('grating_concentric_arc_08762e00')
P(grating_concentric_arc_0, L1_0, [(0,0.174),(0,-0.174),(10.962,-4.882),(11.006,-4.786),(11.24,-4.202),(11.476,-3.508),(11.644,-2.902),(11.78,-2.29),(11.868,-1.774),(11.954,-1.046),(11.99,-0.524),(12,0.104),(11.99,0.524),(11.934,1.254),(11.836,1.98),(11.738,2.496),(11.564,3.206),(11.38,3.808),(11.126,4.496),(10.962,4.882)])
grating_concentric_arc_0.add(gdstk.Reference(straight_3aa2beef, (-10,0)))
grating_concentric_arc_0.add(gdstk.Reference(ring_5980e904_transform_, (0,0)))
grating_concentric_arc_0.add(gdstk.Reference(ring_31c3b712_transform_, (0,0)))
grating_concentric_arc_0.add(gdstk.Reference(ring_8cd21f16_transform_, (0,0)))
grating_concentric_arc_0.add(gdstk.Reference(ring_874df38f_transform_, (0,0)))
grating_concentric_arc_0.add(gdstk.Reference(ring_c10c4332_transform_, (0,0)))
grating_concentric_arc_0.add(gdstk.Reference(ring_1c1a7db8_transform_, (0,0)))
grating_concentric_arc_0.add(gdstk.Reference(ring_828d36b0_transform_, (0,0)))
grating_concentric_arc_0.add(gdstk.Reference(ring_3885c2f9_transform_, (0,0)))
grating_concentric_arc_0.add(gdstk.Reference(ring_8b9f594e_transform_, (0,0)))
grating_concentric_arc_0.add(gdstk.Reference(ring_6a857adc_transform_, (0,0)))
grating_concentric_arc_0.add(gdstk.Reference(ring_92e91ee7_transform_, (0,0)))
grating_concentric_arc_0.add(gdstk.Reference(ring_b28e7591_transform_, (0,0)))
grating_concentric_arc_0.add(gdstk.Reference(ring_3f1a5748_transform_, (0,0)))
grating_concentric_arc_0.add(gdstk.Reference(ring_ff41c443_transform_, (0,0)))
grating_concentric_arc_0.add(gdstk.Reference(ring_9ce07b13_transform_, (0,0)))
grating_concentric_arc_0.add(gdstk.Reference(ring_57aed3ef_transform_, (0,0)))
grating_concentric_arc_0.add(gdstk.Reference(ring_51216bf5_transform_, (0,0)))
grating_concentric_arc_0.add(gdstk.Reference(ring_f3ee0912_transform_, (0,0)))
grating_concentric_arc_0.add(gdstk.Reference(ring_0a456188_transform_, (0,0)))
grating_concentric_arc_0.add(gdstk.Reference(ring_1e318d4c_transform_, (0,0)))
grating_concentric_arc_0.add(gdstk.Reference(ring_53eda29f_transform_, (0,0)))
grating_concentric_arc_0.add(gdstk.Reference(ring_22dcee67_transform_, (0,0)))
grating_concentric_arc_0.add(gdstk.Reference(ring_87db352c_transform_, (0,0)))
grating_concentric_arc_0.add(gdstk.Reference(ring_80e87c48_transform_, (0,0)))
grating_concentric_arc_0.add(gdstk.Reference(ring_0d970298_transform_, (0,0)))
grating_concentric_arc_0.add(gdstk.Reference(ring_1c7b9ba6_transform_, (0,0)))
grating_concentric_arc_0.add(gdstk.Reference(ring_21bbc2b6_transform_, (0,0)))
grating_concentric_arc_0.add(gdstk.Reference(ring_ab03ac01_transform_, (0,0)))
grating_concentric_arc_0.add(gdstk.Reference(ring_3170ac5d_transform_, (0,0)))
grating_concentric_arc_0.add(gdstk.Reference(ring_6e273fe0_transform_, (0,0)))
grating_concentric_arc_0.add(gdstk.Reference(ring_b7cfe6b0_transform_, (0,0)))
grating_concentric_arc_0.add(gdstk.Reference(ring_9169cfe8_transform_, (0,0)))
grating_concentric_arc_0.add(gdstk.Reference(ring_ac7aef09_transform_, (0,0)))
grating_concentric_arc_0.add(gdstk.Reference(ring_f583906b_transform_, (0,0)))
grating_concentric_arc_0.add(gdstk.Reference(ring_aeb52af5_transform_, (0,0)))
grating_concentric_arc_0.add(gdstk.Reference(ring_6648dc2c_transform_, (0,0)))

lib.write_gds('grating_concentric_arc_08762e00.gds')
